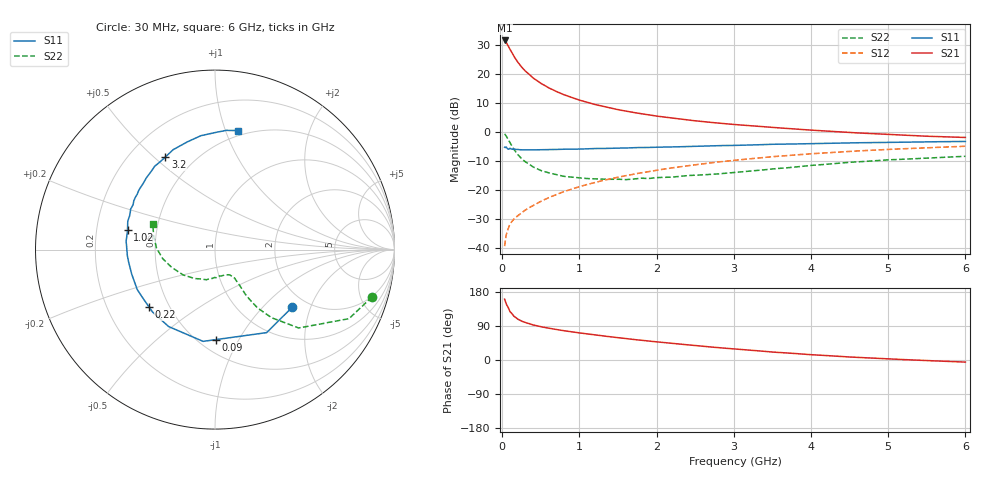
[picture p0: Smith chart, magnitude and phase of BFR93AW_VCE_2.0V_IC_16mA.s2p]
! Infineon Technologies  Discrete & RF Semiconductors
! BFR93AW
! VCE =  2.0 V,  IC =  16 mA
! Common Emitter S-Parameters:  Nov 2015
# GHz  S  MA  R  50
!  f  S11  S21  S12  S22
! GHz  MAG  ANG  MAG  ANG  MAG  ANG  MAG  ANG
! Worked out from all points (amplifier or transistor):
!   206 points, 30 MHz to 6 GHz, reference 50 ohm
!   highest |S21| = 31.4 dB at 30 MHz (marker M1)
!   |S21| within 3 dB of that: start of sweep to 98.9 MHz
!   unconditionally stable (mu >= 1): 587.8 MHz to 2.379 GHz
!   at 200 MHz: K = 0.65, MSG = 26.5 dB, |S12| = -29.0 dB
!   at 1.56 GHz: K = 1.06, MAG = 9.9 dB, |S12| = -15.4 dB
!   at 6 GHz: K = 0.94, MSG = 1.5 dB, |S12| = -5.1 dB
!   S11 on the Smith chart (normalised r, x): 30 MHz: 1.67, -1.50; 90 MHz: 0.60, -0.81; 220 MHz: 0.39, -0.32; 1.02 GHz: 0.34, +0.10; 3.2 GHz: 0.35, +0.55; 6 GHz: 0.45, +1.11
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0.03  0.5368 -36.7  37.13 160.4  0.0106 73.8  0.9143 -16.8
0.05  0.5448 -58.1  34.66 147.8  0.0165 68.2  0.8396 -27.3
0.09  0.5016 -89.5  27.52 132.4  0.0237 60.1  0.6735 -39.3
0.1  0.5156 -97.4  26.14 127.4  0.0256 58.8  0.6381 -43.2
0.15  0.5006 -121.1  19.8 115.5  0.031 54.3  0.4931 -50.3
0.2  0.492 -135.1  15.74 107.9  0.0354 55.4  0.4023 -53.9
0.22  0.4871 -139.2  14.6 106.0  0.0371 55.8  0.3772 -54.4
0.26  0.4844 -147.0  12.52 101.8  0.0407 56.7  0.3318 -55.3
0.3  0.487 -152.9  10.97 98.5  0.0446 58.1  0.3001 -55.8
0.4  0.4837 -163.5  8.361 92.4  0.0532 60.9  0.2456 -55.4
0.5  0.4859 -170.8  6.771 87.7  0.0626 63.2  0.2131 -55.6
0.6  0.4895 -176.1  5.681 83.9  0.0725 65.0  0.1943 -55.4
0.7  0.4915 178.9  4.906 80.4  0.0821 65.9  0.1814 -56.4
1.02  0.4998 167.1  3.421 71.0  0.1144 66.9  0.1583 -62.2
1.04  0.501 166.5  3.361 70.5  0.1164 66.9  0.1574 -63.1
1.5  0.5213 154.4  2.384 58.9  0.1634 65.7  0.1511 -77.3
2.02  0.5386 141.7  1.833 47.4  0.2178 62.1  0.1613 -95.4
3.1  0.5811 119.9  1.294 27.7  0.3287 52.2  0.2015 -128.7
3.2  0.5858 118.1  1.264 26.1  0.3386 51.1  0.2069 -132.2
4.1  0.6228 102.9  1.039 12.9  0.4222 41.3  0.2668 -160.5
5.1  0.6532 89.5  0.88 1.9  0.4993 30.3  0.3294 176.3
6  0.6754 79.0  0.791 -5.5  0.5587 20.9  0.3752 157.4
